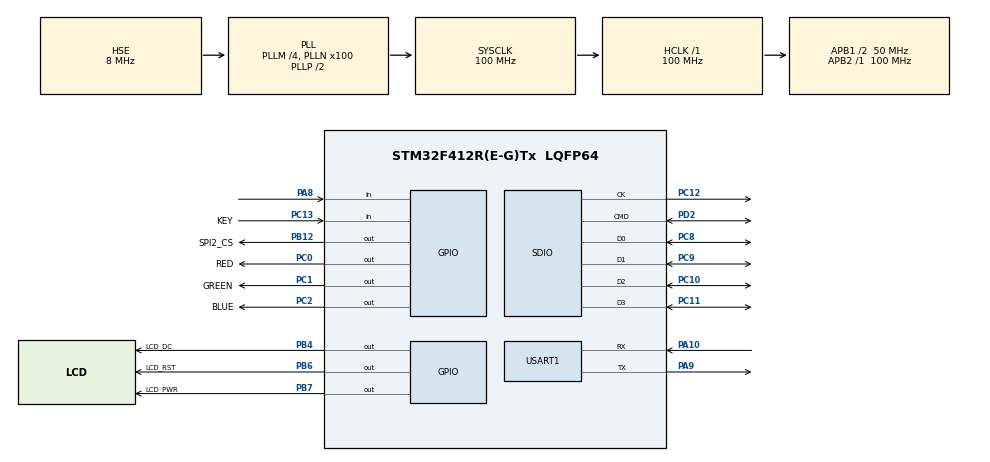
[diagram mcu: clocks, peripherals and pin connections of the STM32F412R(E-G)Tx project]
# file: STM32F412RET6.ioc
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Mcu.Family=STM32F4
Mcu.Name=STM32F412R(E-G)Tx
Mcu.Package=LQFP64
NVIC.PriorityGroup=NVIC_PRIORITYGROUP_4
NVIC.USART1_IRQn=true\:0\:0\:false\:false\:true\:true\:true\:true
PA10.Mode=Asynchronous
PA10.Signal=USART1_RX
PA13.Mode=Serial_Wire
PA13.Signal=SYS_JTMS-SWDIO
PA14.Mode=Serial_Wire
PA14.Signal=SYS_JTCK-SWCLK
PA8.Signal=GPIO_Input
PA9.Mode=Asynchronous
PA9.Signal=USART1_TX
PB12.GPIO_Label=SPI2_CS
PB12.GPIO_PuPd=GPIO_PULLUP
PB12.PinState=GPIO_PIN_RESET
PB12.Signal=GPIO_Output
PB13.Signal=SPI2_SCK
PB14.Signal=SPI2_MISO
PB15.Signal=SPI2_MOSI
PB3.GPIO_PuPd=GPIO_PULLUP
PB3.Signal=SPI1_SCK
PB4.GPIO_Label=LCD_DC
PB4.GPIO_PuPd=GPIO_PULLUP
PB4.GPIO_Speed=GPIO_SPEED_FREQ_VERY_HIGH
PB4.Signal=GPIO_Output
PB5.GPIO_PuPd=GPIO_PULLUP
PB5.Signal=SPI1_MOSI
PB6.GPIO_Label=LCD_RST
PB6.GPIO_PuPd=GPIO_PULLUP
PB6.GPIO_Speed=GPIO_SPEED_FREQ_VERY_HIGH
PB6.PinState=GPIO_PIN_RESET
PB6.Signal=GPIO_Output
PB7.GPIO_Label=LCD_PWR
PB7.GPIO_PuPd=GPIO_PULLUP
PB7.GPIO_Speed=GPIO_SPEED_FREQ_VERY_HIGH
PB7.Signal=GPIO_Output
PC0.GPIO_Label=RED
PC0.GPIO_PuPd=GPIO_PULLUP
PC0.PinState=GPIO_PIN_SET
PC0.Signal=GPIO_Output
PC1.GPIO_Label=GREEN
PC1.GPIO_PuPd=GPIO_PULLUP
PC1.PinState=GPIO_PIN_SET
PC1.Signal=GPIO_Output
PC10.Mode=SD_4_bits_Wide_bus
PC10.Signal=SDIO_D2
PC11.Mode=SD_4_bits_Wide_bus
PC11.Signal=SDIO_D3
PC12.Mode=SD_4_bits_Wide_bus
PC12.Signal=SDIO_CK
PC13.GPIO_Label=KEY
PC13.GPIO_PuPd=GPIO_PULLUP
PC13.Signal=GPIO_Input
PC2.GPIO_Label=BLUE
PC2.GPIO_PuPd=GPIO_PULLUP
PC2.PinState=GPIO_PIN_SET
PC2.Signal=GPIO_Output
PC8.Mode=SD_4_bits_Wide_bus
PC8.Signal=SDIO_D0
PC9.Mode=SD_4_bits_Wide_bus
PC9.Signal=SDIO_D1
PD2.Mode=SD_4_bits_Wide_bus
PD2.Signal=SDIO_CMD
PH0\ -\ OSC_IN.Mode=HSE-External-Oscillator
PH0\ -\ OSC_IN.Signal=RCC_OSC_IN
PH1\ -\ OSC_OUT.Mode=HSE-External-Oscillator
PH1\ -\ OSC_OUT.Signal=RCC_OSC_OUT
ProjectManager.HeapSize=0x800
ProjectManager.StackSize=0x800
ProjectManager.TargetToolchain=MDK-ARM V5
RCC.AHBFreq_Value=100000000
RCC.APB1CLKDivider=RCC_HCLK_DIV2
RCC.APB1Freq_Value=50000000
RCC.APB1TimFreq_Value=100000000
RCC.APB2Freq_Value=100000000
RCC.APB2TimFreq_Value=100000000
RCC.CortexFreq_Value=100000000
RCC.HCLKFreq_Value=100000000
RCC.HSE_VALUE=8000000
RCC.PLLM=4
RCC.PLLN=100
RCC.PLLQ=4
RCC.PLLSourceVirtual=RCC_PLLSOURCE_HSE
RCC.SYSCLKFreq_VALUE=100000000
RCC.SYSCLKSource=RCC_SYSCLKSOURCE_PLLCLK
RCC.USBFreq_Value=50000000
RCC.VCOOutputFreq_Value=200000000
SDIO.ClockDiv=2
USART1.VirtualMode=VM_ASYNC
VP_FATFS_VS_SDIO.Mode=SDIO
board=custom

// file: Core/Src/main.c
/* USER CODE BEGIN Header */
/**
  ******************************************************************************
  * @file           : main.c
  * @brief          : Main program body
  ******************************************************************************
  * @attention
  *
  * <h2><center>&copy; Copyright (c) 2020 STMicroelectronics.
  * All rights reserved.</center></h2>
  *
  * This software component is licensed by ST under BSD 3-Clause license,
  * the "License"; You may not use this file except in compliance with the
  * License. You may obtain a copy of the License at:
  *                        opensource.org/licenses/BSD-3-Clause
  *
  ******************************************************************************
  */
/* USER CODE END Header */
#include "main.h"
#include "fatfs.h"
#include "sdio.h"
#include "usart.h"
#include "gpio.h"

/* USER CODE BEGIN Includes */
#include "BSP_GPIO.h"
#include "BSP_USART.h"
#include "stdio.h"
/* USER CODE END Includes */

void SystemClock_Config(void);

/* USER CODE BEGIN 0 */

HAL_SD_CardInfoTypeDef  SDCardInfo;

void printf_sdcard_info(void)
{
	uint64_t CardCap;      	//SD卡容量
	HAL_SD_CardCIDTypeDef SDCard_CID;

	HAL_SD_GetCardCID(&hsd,&SDCard_CID);	//获取CID
	HAL_SD_GetCardInfo(&hsd,&SDCardInfo);                    //获取SD卡信息
	CardCap=(uint64_t)(SDCardInfo.LogBlockNbr)*(uint64_t)(SDCardInfo.LogBlockSize);	//计算SD卡容量
	switch(SDCardInfo.CardType)
	{
		case CARD_SDSC:
		{
			if(SDCardInfo.CardVersion == CARD_V1_X)
				printf("Card Type:SDSC V1\r\n");
			else if(SDCardInfo.CardVersion == CARD_V2_X)
				printf("Card Type:SDSC V2\r\n");
		}
		break;
		case CARD_SDHC_SDXC:printf("Card Type:SDHC\r\n");break;
		default:break;
	}

  printf("Card ManufacturerID: %d \r\n",SDCard_CID.ManufacturerID);				//制造商ID
 	printf("CardVersion:         %d \r\n",(uint32_t)(SDCardInfo.CardVersion));		//卡版本号
	printf("Class:               %d \r\n",(uint32_t)(SDCardInfo.Class));		    //
 	printf("Card RCA(RelCardAdd):%d \r\n",SDCardInfo.RelCardAdd);					//卡相对地址
	printf("Card BlockNbr:       %d \r\n",SDCardInfo.BlockNbr);						//块数量
 	printf("Card BlockSize:      %d \r\n",SDCardInfo.BlockSize);					//块大小
	printf("LogBlockNbr:         %d \r\n",(uint32_t)(SDCardInfo.LogBlockNbr));		//逻辑块数量
	printf("LogBlockSize:        %d \r\n",(uint32_t)(SDCardInfo.LogBlockSize));		//逻辑块大小
	printf("Card Capacity:       %d MB\r\n",(uint32_t)(CardCap>>20));				//卡容量
}

/* USER CODE END 0 */

int main(void)
{

  /* USER CODE BEGIN 1 */
	u8 sd_datus;
	u8 sd_buf;
  /* USER CODE END 1 */

  /* MCU Configuration--------------------------------------------------------*/

  /* Reset of all peripherals, Initializes the Flash interface and the Systick. */
  HAL_Init();

  /* Configure the system clock */
  SystemClock_Config();

  /* Initialize all configured peripherals */
  MX_GPIO_Init();
  MX_USART1_UART_Init();
  MX_SDIO_SD_Init();
  MX_FATFS_Init();
  /* USER CODE BEGIN 2 */
	SD_Driver.disk_initialize(0);
	printf_sdcard_info();

	sd_datus = SD_Driver.disk_write(0,"SD CARD TEST",20,2);

	printf("sd write result:%d\r\n",sd_datus);
	sd_datus = SD_Driver.disk_read(0,&sd_buf,20,2);
	printf("sd reak result:%d\r\n",sd_datus);
	printf("sd read content:\r\n%s\r\n",&sd_buf);
  /* USER CODE END 2 */

  /* Infinite loop */
  /* USER CODE BEGIN WHILE */
  while (1)
  {
		LED_R_TogglePin;
		HAL_Delay(500);
    /* USER CODE END WHILE */

  }
}

void SystemClock_Config(void)
{
  RCC_OscInitTypeDef RCC_OscInitStruct = {0};
  RCC_ClkInitTypeDef RCC_ClkInitStruct = {0};

  /** Configure the main internal regulator output voltage
  */
  __HAL_RCC_PWR_CLK_ENABLE();
  __HAL_PWR_VOLTAGESCALING_CONFIG(PWR_REGULATOR_VOLTAGE_SCALE1);

  /** Initializes the RCC Oscillators according to the specified parameters
  * in the RCC_OscInitTypeDef structure.
  */
  RCC_OscInitStruct.OscillatorType = RCC_OSCILLATORTYPE_HSE;
  RCC_OscInitStruct.HSEState = RCC_HSE_ON;
  RCC_OscInitStruct.PLL.PLLState = RCC_PLL_ON;
  RCC_OscInitStruct.PLL.PLLSource = RCC_PLLSOURCE_HSE;
  RCC_OscInitStruct.PLL.PLLM = 4;
  RCC_OscInitStruct.PLL.PLLN = 100;
  RCC_OscInitStruct.PLL.PLLP = RCC_PLLP_DIV2;
  RCC_OscInitStruct.PLL.PLLQ = 4;
  RCC_OscInitStruct.PLL.PLLR = 2;
  if (HAL_RCC_OscConfig(&RCC_OscInitStruct) != HAL_OK)
  {
    Error_Handler();
  }

  /** Initializes the CPU, AHB and APB buses clocks
  */
  RCC_ClkInitStruct.ClockType = RCC_CLOCKTYPE_HCLK|RCC_CLOCKTYPE_SYSCLK
                              |RCC_CLOCKTYPE_PCLK1|RCC_CLOCKTYPE_PCLK2;
  RCC_ClkInitStruct.SYSCLKSource = RCC_SYSCLKSOURCE_PLLCLK;
  RCC_ClkInitStruct.AHBCLKDivider = RCC_SYSCLK_DIV1;
  RCC_ClkInitStruct.APB1CLKDivider = RCC_HCLK_DIV2;
  RCC_ClkInitStruct.APB2CLKDivider = RCC_HCLK_DIV1;

  if (HAL_RCC_ClockConfig(&RCC_ClkInitStruct, FLASH_LATENCY_3) != HAL_OK)
  {
    Error_Handler();
  }
}

void Error_Handler(void)
{
}
